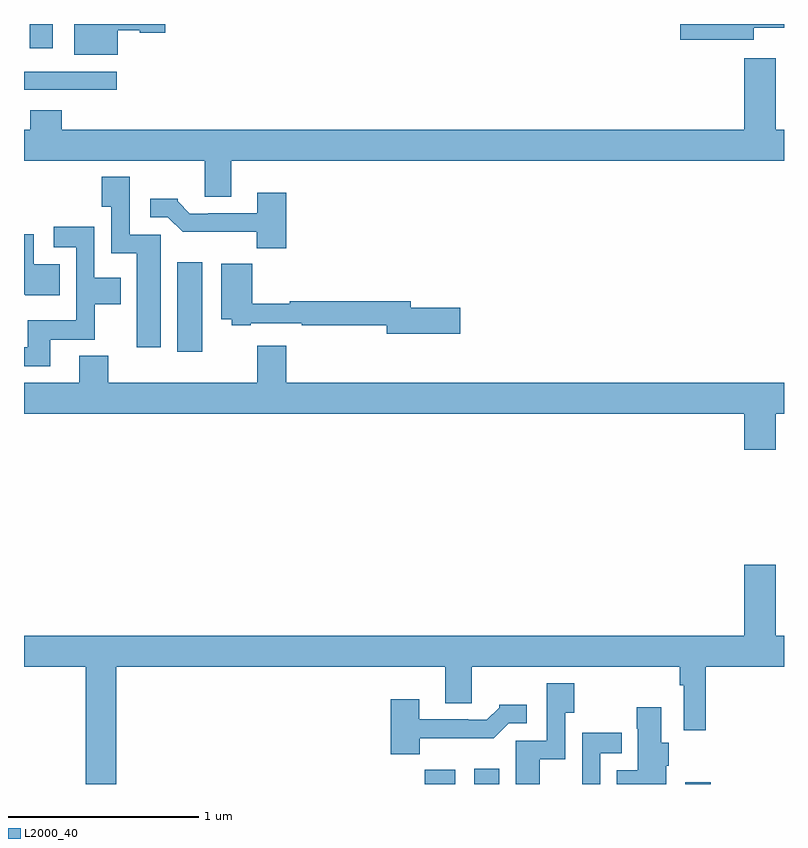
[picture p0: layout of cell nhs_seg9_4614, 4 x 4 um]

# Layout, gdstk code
import gdstk
lib = gdstk.Library(unit=1e-6, precision=1e-09)
def R(c, l, rs):  # rectangles x0, y0, x1, y1
    for r in rs: c.add(gdstk.rectangle(r[:2], r[2:], *l))
def P(c, l, *ps):  # polygons
    for p in ps: c.add(gdstk.Polygon(p, *l))
L2000_40 = (2000, 40)

nhs_seg9_4614 = lib.new_cell('nhs_seg9_4614')
R(nhs_seg9_4614, L2000_40, [(379.108,1166.5,379.27,1166.575), (379.37,1166.5,379.501,1166.581), (380.48,1166.5,380.615,1166.509), (377.807,1168.776,377.938,1169.245), (377,1170.153,377.488,1170.249), (377.03,1170.372,377.152,1170.5)])
P(nhs_seg9_4614, L2000_40, [(380.842,1170.479),(381,1170.479),(381,1170.5),(380.454,1170.5),(380.454,1170.418),(380.842,1170.418)],
  [(377.494,1170.467),(377.61,1170.467),(377.61,1170.455),(377.743,1170.455),(377.743,1170.5),(377.264,1170.5),(377.264,1170.338),(377.494,1170.338)],
  [(378.091,1169.78),(381,1169.78),(381,1169.944),(380.956,1169.944),(380.956,1170.319),(380.792,1170.319),(380.792,1169.944),(377.198,1169.944),(377.198,1170.046),(377.033,1170.046),(377.033,1169.944),(377,1169.944),(377,1169.78),(377.951,1169.78),(377.951,1169.59),(378.091,1169.59)],
  [(377.719,1169.391),(377.556,1169.391),(377.556,1169.695),(377.408,1169.695),(377.408,1169.539),(377.46,1169.539),(377.46,1169.294),(377.594,1169.294),(377.594,1168.8),(377.719,1168.8)],
  [(378.38,1169.611),(378.227,1169.611),(378.227,1169.505),(377.971,1169.505),(377.971,1169.502),(377.872,1169.502),(377.808,1169.566),(377.808,1169.581),(377.664,1169.581),(377.664,1169.484),(377.757,1169.484),(377.836,1169.406),(378.225,1169.406),(378.225,1169.321),(378.38,1169.321)],
  [(377.137,1168.838),(377.373,1168.838),(377.373,1169.024),(377.509,1169.024),(377.509,1169.164),(377.37,1169.164),(377.37,1169.434),(377.157,1169.434),(377.157,1169.325),(377.274,1169.325),(377.274,1168.942),(377.021,1168.942),(377.021,1168.8),(377,1168.8),(377,1168.698),(377.137,1168.698)],
  [(377.189,1169.236),(377.05,1169.236),(377.05,1169.393),(377,1169.393),(377,1169.078),(377.006,1169.072),(377.189,1169.072)],
  [(379.297,1169.006),(379.036,1169.006),(379.036,1169.042),(378.398,1169.042),(378.398,1169.027),(378.2,1169.027),(378.2,1169.239),(378.038,1169.239),(378.038,1168.946),(378.093,1168.946),(378.093,1168.914),(378.193,1168.914),(378.193,1168.926),(378.463,1168.926),(378.463,1168.914),(378.908,1168.914),(378.908,1168.871),(379.297,1168.871)],
  [(380.956,1168.448),(381,1168.448),(381,1168.612),(378.38,1168.612),(378.38,1168.807),(378.227,1168.807),(378.227,1168.612),(377.444,1168.612),(377.444,1168.753),(377.291,1168.753),(377.291,1168.612),(377,1168.612),(377,1168.448),(380.792,1168.448),(380.792,1168.26),(380.956,1168.26)],
  [(377.486,1167.116),(379.217,1167.116),(379.217,1166.926),(379.357,1166.926),(379.357,1167.116),(380.452,1167.116),(380.452,1167.02),(380.472,1167.02),(380.472,1166.784),(380.588,1166.784),(380.588,1167.116),(381,1167.116),(381,1167.28),(380.956,1167.28),(380.956,1167.655),(380.792,1167.655),(380.792,1167.28),(377,1167.28),(377,1167.116),(377.326,1167.116),(377.326,1166.5),(377.486,1166.5)],
  [(379.714,1166.63),(379.848,1166.63),(379.848,1166.875),(379.896,1166.875),(379.896,1167.031),(379.752,1167.031),(379.752,1166.727),(379.589,1166.727),(379.589,1166.5),(379.714,1166.5)],
  [(379.084,1166.742),(379.473,1166.742),(379.551,1166.82),(379.645,1166.82),(379.645,1166.917),(379.5,1166.917),(379.5,1166.902),(379.436,1166.838),(379.337,1166.838),(379.337,1166.841),(379.081,1166.841),(379.081,1166.947),(378.929,1166.947),(378.929,1166.657),(379.084,1166.657)],
  [(380.38,1166.596),(380.393,1166.596),(380.393,1166.718),(380.353,1166.718),(380.353,1166.905),(380.224,1166.905),(380.224,1166.792),(380.231,1166.792),(380.231,1166.572),(380.119,1166.572),(380.119,1166.5),(380.38,1166.5)],
  [(380.034,1166.661),(380.146,1166.661),(380.146,1166.769),(379.938,1166.769),(379.938,1166.5),(380.034,1166.5)])

lib.write_gds('nhs_seg9_4614.gds')
